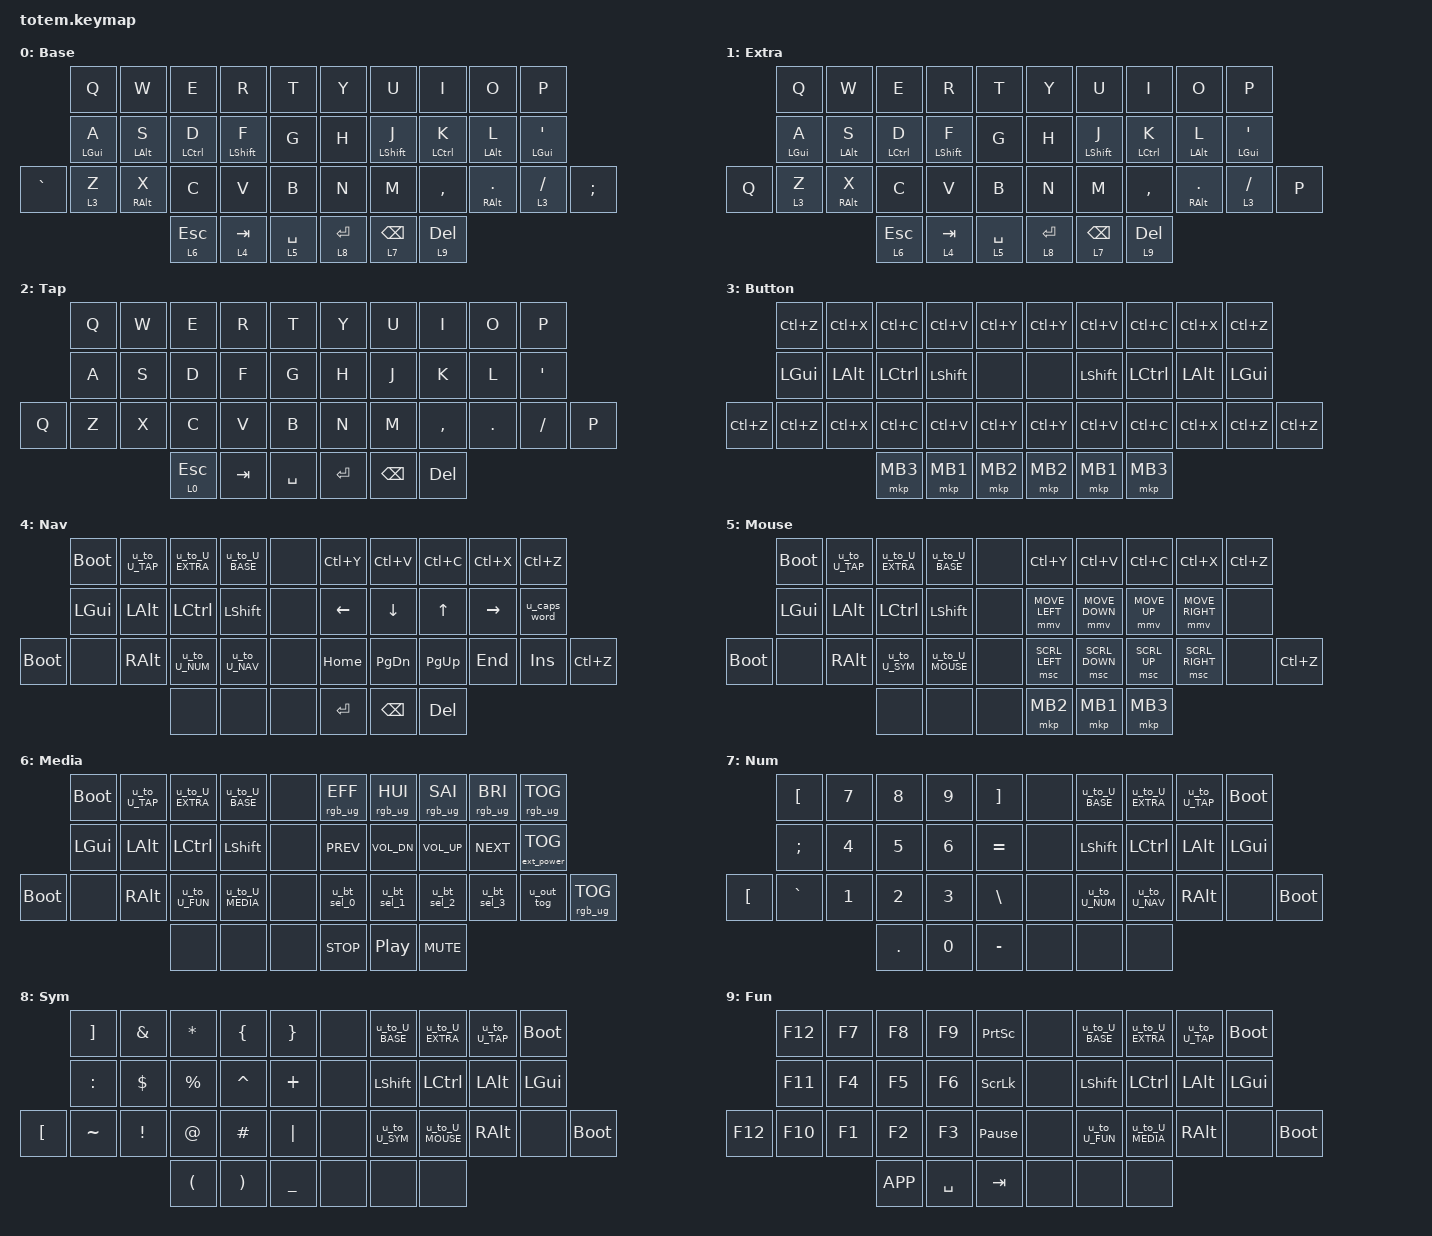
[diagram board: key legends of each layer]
#include <behaviors/mouse_keys.dtsi>
#include <behaviors.dtsi>
#include <dt-bindings/zmk/bt.h>
#include <dt-bindings/zmk/ext_power.h>
#include <dt-bindings/zmk/keys.h>
#include <dt-bindings/zmk/outputs.h>
#include <dt-bindings/zmk/pointing.h>
#include <dt-bindings/zmk/rgb.h>

/ {
    keymap {
        compatible = "zmk,keymap";

        BASE {
            display-name = "Base";
            bindings = <
           &kp Q         &kp W         &kp E          &kp R          &kp T            &kp Y        &kp U          &kp I          &kp O           &kp P
           &u_mt LGUI A  &u_mt LALT S  &u_mt LCTRL D  &u_mt LSHFT F  &kp G            &kp H        &u_mt LSHFT J  &u_mt LCTRL K  &u_mt LALT L    &u_mt LGUI SQT
&kp GRAVE  &u_lt 3 Z     &u_mt RALT X  &kp C          &kp V          &kp B            &kp N        &kp M          &kp COMMA      &u_mt RALT DOT  &u_lt 3 SLASH   &kp SEMICOLON
                                       &u_lt 6 ESC    &u_lt 4 TAB    &u_lt 5 SPACE    &u_lt 8 RET  &u_lt 7 BSPC   &u_lt 9 DEL
            >;
        };

        EXTRA {
            display-name = "Extra";
            bindings = <
       &kp Q         &kp W         &kp E          &kp R          &kp T            &kp Y        &kp U          &kp I          &kp O           &kp P
       &u_mt LGUI A  &u_mt LALT S  &u_mt LCTRL D  &u_mt LSHFT F  &kp G            &kp H        &u_mt LSHFT J  &u_mt LCTRL K  &u_mt LALT L    &u_mt LGUI SQT
&kp Q  &u_lt 3 Z     &u_mt RALT X  &kp C          &kp V          &kp B            &kp N        &kp M          &kp COMMA      &u_mt RALT DOT  &u_lt 3 SLASH   &kp P
                                   &u_lt 6 ESC    &u_lt 4 TAB    &u_lt 5 SPACE    &u_lt 8 RET  &u_lt 7 BSPC   &u_lt 9 DEL
            >;
        };

        TAP {
            display-name = "Tap";
            bindings = <
       &kp Q  &kp W  &kp E        &kp R    &kp T        &kp Y    &kp U     &kp I      &kp O    &kp P
       &kp A  &kp S  &kp D        &kp F    &kp G        &kp H    &kp J     &kp K      &kp L    &kp SQT
&kp Q  &kp Z  &kp X  &kp C        &kp V    &kp B        &kp N    &kp M     &kp COMMA  &kp DOT  &kp SLASH  &kp P
                     &u_lt 0 ESC  &kp TAB  &kp SPACE    &kp RET  &kp BSPC  &kp DEL
            >;
        };

        BUTTON {
            display-name = "Button";
            bindings = <
           &kp LC(Z)  &kp LC(X)  &kp LC(C)  &kp LC(V)  &kp LC(Y)    &kp LC(Y)  &kp LC(V)  &kp LC(C)  &kp LC(X)  &kp LC(Z)
           &kp LGUI   &kp LALT   &kp LCTRL  &kp LSHFT  &none        &none      &kp LSHFT  &kp LCTRL  &kp LALT   &kp LGUI
&kp LC(Z)  &kp LC(Z)  &kp LC(X)  &kp LC(C)  &kp LC(V)  &kp LC(Y)    &kp LC(Y)  &kp LC(V)  &kp LC(C)  &kp LC(X)  &kp LC(Z)  &kp LC(Z)
                                 &mkp MB3   &mkp MB1   &mkp MB2     &mkp MB2   &mkp MB1   &mkp MB3
            >;
        };

        NAV {
            display-name = "Nav";
            bindings = <
             &bootloader  &u_to_U_TAP  &u_to_U_EXTRA  &u_to_U_BASE  &none    &kp LC(Y)  &kp LC(V)  &kp LC(C)  &kp LC(X)  &kp LC(Z)
             &kp LGUI     &kp LALT     &kp LCTRL      &kp LSHFT     &none    &kp LEFT   &kp DOWN   &kp UP     &kp RIGHT  &u_caps_word
&bootloader  &none        &kp RALT     &u_to_U_NUM    &u_to_U_NAV   &none    &kp HOME   &kp PG_DN  &kp PG_UP  &kp END    &kp INS       &kp LC(Z)
                                       &none          &none         &none    &kp RET    &kp BSPC   &kp DEL
            >;
        };

        MOUSE {
            display-name = "Mouse";
            bindings = <
             &bootloader  &u_to_U_TAP  &u_to_U_EXTRA  &u_to_U_BASE   &none    &kp LC(Y)       &kp LC(V)       &kp LC(C)     &kp LC(X)        &kp LC(Z)
             &kp LGUI     &kp LALT     &kp LCTRL      &kp LSHFT      &none    &mmv MOVE_LEFT  &mmv MOVE_DOWN  &mmv MOVE_UP  &mmv MOVE_RIGHT  &none
&bootloader  &none        &kp RALT     &u_to_U_SYM    &u_to_U_MOUSE  &none    &msc SCRL_LEFT  &msc SCRL_DOWN  &msc SCRL_UP  &msc SCRL_RIGHT  &none      &kp LC(Z)
                                       &none          &none          &none    &mkp MB2        &mkp MB1        &mkp MB3
            >;
        };

        MEDIA {
            display-name = "Media";
            bindings = <
             &bootloader  &u_to_U_TAP  &u_to_U_EXTRA  &u_to_U_BASE   &none    &rgb_ug RGB_EFF  &rgb_ug RGB_HUI  &rgb_ug RGB_SAI  &rgb_ug RGB_BRI  &rgb_ug RGB_TOG
             &kp LGUI     &kp LALT     &kp LCTRL      &kp LSHFT      &none    &kp C_PREV       &kp C_VOL_DN     &kp C_VOL_UP     &kp C_NEXT       &ext_power EP_TOG
&bootloader  &none        &kp RALT     &u_to_U_FUN    &u_to_U_MEDIA  &none    &u_bt_sel_0      &u_bt_sel_1      &u_bt_sel_2      &u_bt_sel_3      &u_out_tog         &rgb_ug RGB_TOG
                                       &none          &none          &none    &kp C_STOP       &kp C_PP         &kp C_MUTE
            >;
        };

        NUM {
            display-name = "Num";
            bindings = <
          &kp LBKT   &kp N7  &kp N8   &kp N9  &kp RBKT     &none  &u_to_U_BASE  &u_to_U_EXTRA  &u_to_U_TAP  &bootloader
          &kp SEMI   &kp N4  &kp N5   &kp N6  &kp EQUAL    &none  &kp LSHFT     &kp LCTRL      &kp LALT     &kp LGUI
&kp LBKT  &kp GRAVE  &kp N1  &kp N2   &kp N3  &kp BSLH     &none  &u_to_U_NUM   &u_to_U_NAV    &kp RALT     &none        &bootloader
                             &kp DOT  &kp N0  &kp MINUS    &none  &none         &none
            >;
        };

        SYM {
            display-name = "Sym";
            bindings = <
                  &kp RIGHT_BRACKET  &kp AMPS  &kp ASTRK  &kp LEFT_BRACE  &kp RBRC     &none  &u_to_U_BASE  &u_to_U_EXTRA  &u_to_U_TAP  &bootloader
                  &kp COLON          &kp DLLR  &kp PRCNT  &kp CARET       &kp PLUS     &none  &kp LSHFT     &kp LCTRL      &kp LALT     &kp LGUI
&kp LEFT_BRACKET  &kp TILDE          &kp EXCL  &kp AT     &kp HASH        &kp PIPE     &none  &u_to_U_SYM   &u_to_U_MOUSE  &kp RALT     &none        &bootloader
                                               &kp LPAR   &kp RPAR        &kp UNDER    &none  &none         &none
            >;
        };

        FUN {
            display-name = "Fun";
            bindings = <
         &kp F12  &kp F7  &kp F8     &kp F9     &kp PSCRN          &none  &u_to_U_BASE  &u_to_U_EXTRA  &u_to_U_TAP  &bootloader
         &kp F11  &kp F4  &kp F5     &kp F6     &kp SLCK           &none  &kp LSHFT     &kp LCTRL      &kp LALT     &kp LGUI
&kp F12  &kp F10  &kp F1  &kp F2     &kp F3     &kp PAUSE_BREAK    &none  &u_to_U_FUN   &u_to_U_MEDIA  &kp RALT     &none        &bootloader
                          &kp K_APP  &kp SPACE  &kp TAB            &none  &none         &none
            >;
        };
    };
};

/ {
    macros {
        u_macro_u_bt_sel_0: u_macro_u_bt_sel_0 {
            compatible = "zmk,behavior-macro";
            #binding-cells = <0>;
            wait-ms = <0>;
            bindings = <&bt BT_SEL 0 &bt BT_CLR>;
        };
    };
};

/ {
    behaviors {
        u_bt_sel_0: u_bt_sel_0 {
            compatible = "zmk,behavior-mod-morph";
            #binding-cells = <0>;
            bindings = <&bt BT_SEL 0>, <&u_macro_u_bt_sel_0>;

            mods = <(MOD_LSFT|MOD_RSFT)>;
        };
    };
};

/ {
    macros {
        u_macro_u_bt_sel_1: u_macro_u_bt_sel_1 {
            compatible = "zmk,behavior-macro";
            #binding-cells = <0>;
            wait-ms = <0>;
            bindings = <&bt BT_SEL 1 &bt BT_CLR>;
        };
    };
};

/ {
    behaviors {
        u_bt_sel_1: u_bt_sel_1 {
            compatible = "zmk,behavior-mod-morph";
            #binding-cells = <0>;
            bindings = <&bt BT_SEL 1>, <&u_macro_u_bt_sel_1>;

            mods = <(MOD_LSFT|MOD_RSFT)>;
        };
    };
};

/ {
    macros {
        u_macro_u_bt_sel_2: u_macro_u_bt_sel_2 {
            compatible = "zmk,behavior-macro";
            #binding-cells = <0>;
            wait-ms = <0>;
            bindings = <&bt BT_SEL 2 &bt BT_CLR>;
        };
    };
};

/ {
    behaviors {
        u_bt_sel_2: u_bt_sel_2 {
            compatible = "zmk,behavior-mod-morph";
            #binding-cells = <0>;
            bindings = <&bt BT_SEL 2>, <&u_macro_u_bt_sel_2>;

            mods = <(MOD_LSFT|MOD_RSFT)>;
        };
    };
};

/ {
    macros {
        u_macro_u_bt_sel_3: u_macro_u_bt_sel_3 {
            compatible = "zmk,behavior-macro";
            #binding-cells = <0>;
            wait-ms = <0>;
            bindings = <&bt BT_SEL 3 &bt BT_CLR>;
        };
    };
};

/ {
    behaviors {
        u_bt_sel_3: u_bt_sel_3 {
            compatible = "zmk,behavior-mod-morph";
            #binding-cells = <0>;
            bindings = <&bt BT_SEL 3>, <&u_macro_u_bt_sel_3>;

            mods = <(MOD_LSFT|MOD_RSFT)>;
        };
    };
};

/ {
    macros {
        u_macro_u_bt_sel_4: u_macro_u_bt_sel_4 {
            compatible = "zmk,behavior-macro";
            #binding-cells = <0>;
            wait-ms = <0>;
            bindings = <&bt BT_SEL 4 &bt BT_CLR>;
        };
    };
};

/ {
    behaviors {
        u_bt_sel_4: u_bt_sel_4 {
            compatible = "zmk,behavior-mod-morph";
            #binding-cells = <0>;
            bindings = <&bt BT_SEL 4>, <&u_macro_u_bt_sel_4>;

            mods = <(MOD_LSFT|MOD_RSFT)>;
        };
    };
};

/ {
    behaviors {
        u_out_tog: u_out_tog {
            compatible = "zmk,behavior-mod-morph";
            #binding-cells = <0>;
            bindings = <&out OUT_TOG>, <&out OUT_USB>;

            mods = <(MOD_LSFT|MOD_RSFT)>;
        };
    };
};

/ {
    behaviors {
        u_caps_word: u_caps_word {
            compatible = "zmk,behavior-mod-morph";
            #binding-cells = <0>;
            bindings = <&caps_word>, <&kp CAPS>;

            mods = <(MOD_LSFT|MOD_RSFT)>;
        };
    };
};

/ {
    behaviors {
        u_to_U_BASE: u_to_U_BASE {
            compatible = "zmk,behavior-tap-dance";
            #binding-cells = <0>;
            tapping-term-ms = <200>;
            bindings = <&none>, <&to 0>;
        };
    };
};

/ {
    behaviors {
        u_to_U_EXTRA: u_to_U_EXTRA {
            compatible = "zmk,behavior-tap-dance";
            #binding-cells = <0>;
            tapping-term-ms = <200>;
            bindings = <&none>, <&to 1>;
        };
    };
};

/ {
    behaviors {
        u_to_U_TAP: u_to_U_TAP {
            compatible = "zmk,behavior-tap-dance";
            #binding-cells = <0>;
            tapping-term-ms = <200>;
            bindings = <&none>, <&to 2>;
        };
    };
};

/ {
    behaviors {
        u_to_U_BUTTON: u_to_U_BUTTON {
            compatible = "zmk,behavior-tap-dance";
            #binding-cells = <0>;
            tapping-term-ms = <200>;
            bindings = <&none>, <&to 3>;
        };
    };
};

/ {
    behaviors {
        u_to_U_NAV: u_to_U_NAV {
            compatible = "zmk,behavior-tap-dance";
            #binding-cells = <0>;
            tapping-term-ms = <200>;
            bindings = <&none>, <&to 4>;
        };
    };
};

/ {
    behaviors {
        u_to_U_MOUSE: u_to_U_MOUSE {
            compatible = "zmk,behavior-tap-dance";
            #binding-cells = <0>;
            tapping-term-ms = <200>;
            bindings = <&none>, <&to 5>;
        };
    };
};

/ {
    behaviors {
        u_to_U_MEDIA: u_to_U_MEDIA {
            compatible = "zmk,behavior-tap-dance";
            #binding-cells = <0>;
            tapping-term-ms = <200>;
            bindings = <&none>, <&to 6>;
        };
    };
};

/ {
    behaviors {
        u_to_U_NUM: u_to_U_NUM {
            compatible = "zmk,behavior-tap-dance";
            #binding-cells = <0>;
            tapping-term-ms = <200>;
            bindings = <&none>, <&to 7>;
        };
    };
};

/ {
    behaviors {
        u_to_U_SYM: u_to_U_SYM {
            compatible = "zmk,behavior-tap-dance";
            #binding-cells = <0>;
            tapping-term-ms = <200>;
            bindings = <&none>, <&to 8>;
        };
    };
};

/ {
    behaviors {
        u_to_U_FUN: u_to_U_FUN {
            compatible = "zmk,behavior-tap-dance";
            #binding-cells = <0>;
            tapping-term-ms = <200>;
            bindings = <&none>, <&to 9>;
        };
    };
};

&mmv {
    acceleration-exponent = <1>;
    time-to-max-speed-ms = <1500>;
    delay-ms = <0>;
};

/ {
    behaviors {
        u_mt: u_mt {
            compatible = "zmk,behavior-hold-tap";
            #binding-cells = <2>;
            tapping-term-ms = <200>;
            flavor = "tap-preferred";
            bindings = <&kp>, <&kp>;
        };

        u_lt: u_lt {
            compatible = "zmk,behavior-hold-tap";
            #binding-cells = <2>;
            tapping-term-ms = <200>;
            flavor = "tap-preferred";
            bindings = <&mo>, <&kp>;
        };
    };
};

